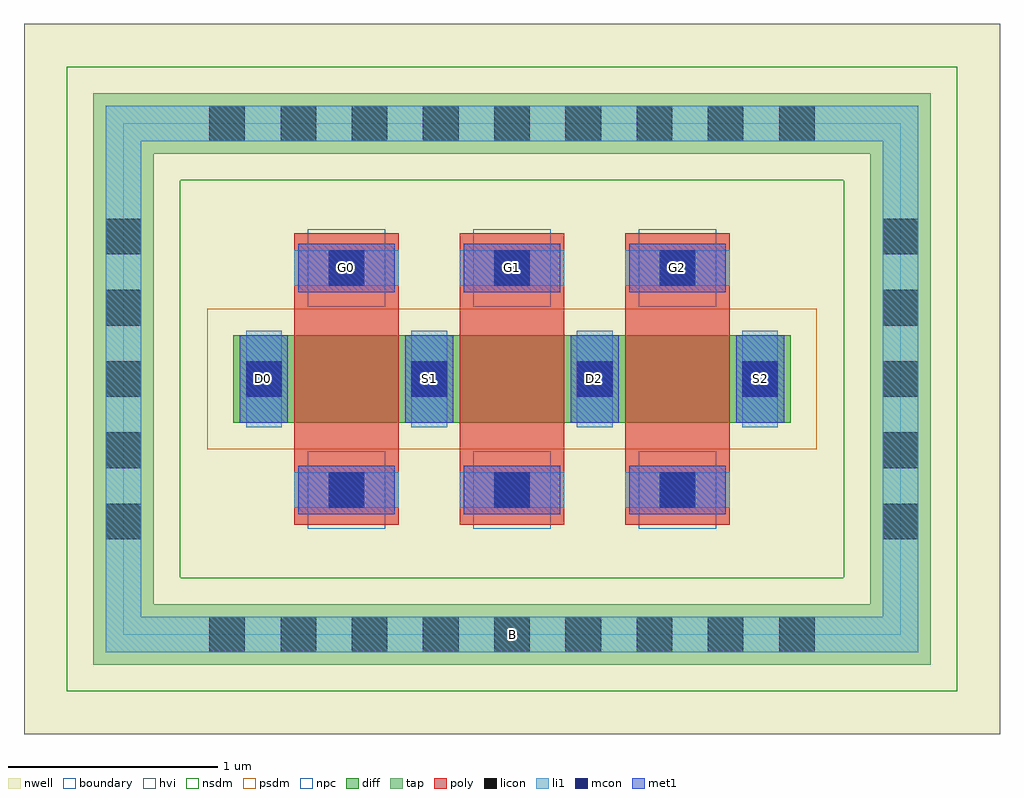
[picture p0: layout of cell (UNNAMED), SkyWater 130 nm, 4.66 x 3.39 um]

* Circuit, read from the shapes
.subckt (UNNAMED) B D0 D2 G0 G1 G2 S1 S2
XM1 S1 G0 D0 B sky130_fd_pr__pfet_g5v0d10v5 w=0.42 l=0.5
XM2 D2 G1 S1 B sky130_fd_pr__pfet_g5v0d10v5 w=0.42 l=0.5
XM3 S2 G2 D2 B sky130_fd_pr__pfet_g5v0d10v5 w=0.42 l=0.5
.ends

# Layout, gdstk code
import gdstk
lib = gdstk.Library(unit=1e-6, precision=1e-09)
def R(c, l, rs):  # rectangles x0, y0, x1, y1
    for r in rs: c.add(gdstk.rectangle(r[:2], r[2:], *l))
def A(c, l, x, y, w, h, nx, ny, dx, dy):  # array of equal rectangles
    R(c, l, [(x+i*dx, y+j*dy, x+i*dx+w, y+j*dy+h) for i in range(nx) for j in range(ny)])
nwell = (64, 20)
diff = (65, 20)
tap = (65, 44)
poly = (66, 20)
licon = (66, 44)
li1 = (67, 20)
mcon = (67, 44)
met1 = (68, 20)
hvi = (75, 20)
nsdm = (93, 44)
psdm = (94, 20)
npc = (95, 20)
boundary = (235, 4)

c__unnamed_ = lib.new_cell('(UNNAMED)')
R(c__unnamed_, nwell, [(-2.33,-1.695,2.33,1.695)])
R(c__unnamed_, diff, [(-1.33,-0.21,1.33,0.21)])
R(c__unnamed_, tap, [(-2,-1.365,2,-1.075), (-2,-1.075,-1.71,1.075), (1.71,-1.075,2,1.075), (-2,1.075,2,1.365)])
A(c__unnamed_, poly, -1.04, -0.695, 0.5, 1.39, 3, 1, 0.79, 0)
A(c__unnamed_, licon, -1.445, -1.305, 0.17, 0.17, 9, 2, 0.34, 2.44)
A(c__unnamed_, licon, -1.94, -0.765, 0.17, 0.17, 1, 5, 0, 0.34)
A(c__unnamed_, licon, 1.77, -0.765, 0.17, 0.17, 1, 5, 0, 0.34)
A(c__unnamed_, licon, -0.875, -0.615, 0.17, 0.17, 3, 2, 0.79, 1.06)
A(c__unnamed_, licon, -1.27, -0.085, 0.17, 0.17, 4, 1, 0.79, 0)
A(c__unnamed_, li1, -1.04, -0.615, 0.5, 0.17, 3, 2, 0.79, 1.06)
A(c__unnamed_, li1, -1.27, -0.23, 0.17, 0.46, 4, 1, 0.79, 0)
R(c__unnamed_, li1, [(-1.94,-1.305,1.94,-1.135), (-1.94,-1.135,-1.77,1.135), (1.77,-1.135,1.94,1.135), (-1.94,1.135,1.94,1.305)])
A(c__unnamed_, mcon, -0.875, -0.615, 0.17, 0.17, 3, 2, 0.79, 1.06)
A(c__unnamed_, mcon, -1.27, -0.085, 0.17, 0.17, 4, 1, 0.79, 0)
A(c__unnamed_, met1, -1.02, -0.645, 0.46, 0.23, 3, 2, 0.79, 1.06)
A(c__unnamed_, met1, -1.3, -0.21, 0.23, 0.42, 4, 1, 0.79, 0)
R(c__unnamed_, hvi, [(-2.33,-1.695,2.33,1.695)])
R(c__unnamed_, nsdm, [(-2.125,-1.49,2.125,-0.95), (-2.125,-0.95,-1.585,0.95), (1.585,-0.95,2.125,0.95), (-2.125,0.95,2.125,1.49)])
R(c__unnamed_, psdm, [(-1.455,-0.335,1.455,0.335)])
A(c__unnamed_, npc, -0.975, -0.715, 0.37, 0.37, 3, 2, 0.79, 1.06)
R(c__unnamed_, boundary, [(-1.855,-1.22,1.855,1.22)])
c__unnamed_.add(gdstk.Label('B', (0,-1.22), layer=67, texttype=5))
c__unnamed_.add(gdstk.Label('D0', (-1.185,0), layer=67, texttype=5))
c__unnamed_.add(gdstk.Label('G0', (-0.79,0.53), layer=67, texttype=5))
c__unnamed_.add(gdstk.Label('S1', (-0.395,0), layer=67, texttype=5))
c__unnamed_.add(gdstk.Label('G1', (0,0.53), layer=67, texttype=5))
c__unnamed_.add(gdstk.Label('D2', (0.395,0), layer=67, texttype=5))
c__unnamed_.add(gdstk.Label('S2', (1.185,0), layer=67, texttype=5))
c__unnamed_.add(gdstk.Label('G2', (0.79,0.53), layer=67, texttype=5))

lib.write_gds('_UNNAMED_.gds')
